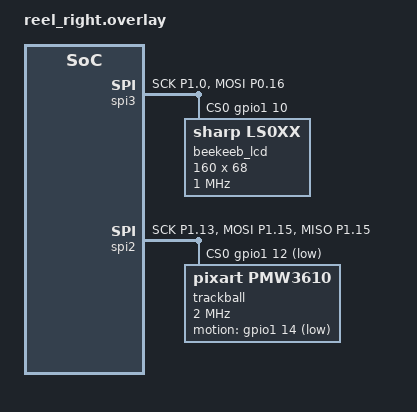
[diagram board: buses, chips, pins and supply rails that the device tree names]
#include "reel.dtsi"
#include <input/processors.dtsi>
#include <zephyr/dt-bindings/input/input-event-codes.h>
#include <zephyr/dt-bindings/pinctrl/nrf-pinctrl.h>

&default_transform {
    col-offset = <6>;
};

&kscan0 {
    col-gpios
        = <&xiao_d 4 GPIO_ACTIVE_HIGH>
        , <&xiao_d 5 GPIO_ACTIVE_HIGH>
        , <&xiao_d 6 GPIO_ACTIVE_HIGH>
        , <&gpio0 9 GPIO_ACTIVE_HIGH>
        , <&gpio0 10 GPIO_ACTIVE_HIGH>
        ;
};

&pinctrl {
    reel_lcd_spi3_default: reel_lcd_spi3_default {
        group1 {
            psels = <NRF_PSEL(SPIM_SCK, 1, 0)>,
                    <NRF_PSEL(SPIM_MOSI, 0, 16)>;
        };
    };

    reel_lcd_spi3_sleep: reel_lcd_spi3_sleep {
        group1 {
            psels = <NRF_PSEL(SPIM_SCK, 1, 0)>,
                    <NRF_PSEL(SPIM_MOSI, 0, 16)>;
            low-power-enable;
        };
    };

    reel_spi2_default: reel_spi2_default {
        group1 {
            psels = <NRF_PSEL(SPIM_SCK, 1, 13)>,
                    <NRF_PSEL(SPIM_MOSI, 1, 15)>,
                    <NRF_PSEL(SPIM_MISO, 1, 15)>;
        };
    };

    reel_spi2_sleep: reel_spi2_sleep {
        group1 {
            psels = <NRF_PSEL(SPIM_SCK, 1, 13)>,
                    <NRF_PSEL(SPIM_MOSI, 1, 15)>,
                    <NRF_PSEL(SPIM_MISO, 1, 15)>;
            low-power-enable;
        };
    };
};

/*
 * Right-side LS011B7DH03:
 * SI=P0.16, SCK=P1.00, CS=P1.10. Serial VCOM inversion means no
 * separate EXTCOMIN signal is required.
 */
&spi3 {
    compatible = "nordic,nrf-spim";
    status = "okay";
    pinctrl-0 = <&reel_lcd_spi3_default>;
    pinctrl-1 = <&reel_lcd_spi3_sleep>;
    pinctrl-names = "default", "sleep";
    cs-gpios = <&gpio1 10 GPIO_ACTIVE_HIGH>;

    beekeeb_lcd: ls0xx@0 {
        compatible = "sharp,ls0xx";
        reg = <0>;
        spi-max-frequency = <1000000>;
        width = <160>;
        height = <68>;
        serial-vcom-inversion;
        serial-vcom-interval = <33>;
    };
};

&spi2 {
    compatible = "nordic,nrf-spim";
    status = "okay";
    pinctrl-0 = <&reel_spi2_default>;
    pinctrl-1 = <&reel_spi2_sleep>;
    pinctrl-names = "default", "sleep";
    cs-gpios = <&gpio1 12 GPIO_ACTIVE_LOW>;

    trackball: trackball@0 {
        compatible = "pixart,pmw3610";
        reg = <0>;
        spi-max-frequency = <2000000>;
        motion-gpios = <&gpio1 14 (GPIO_ACTIVE_LOW | GPIO_PULL_UP)>;
        zephyr,axis-x = <INPUT_REL_Y>;
        zephyr,axis-y = <INPUT_REL_X>;
        res-cpi = <1200>;
        invert-x;
        smart-mode;
    };
};

/ {
    chosen {
        zephyr,display = &beekeeb_lcd;
    };

    trackball_listener: trackball_listener {
        compatible = "zmk,input-listener";
        device = <&trackball>;
        input-processors = <&zip_x_scaler 4 5>;
    };
};
